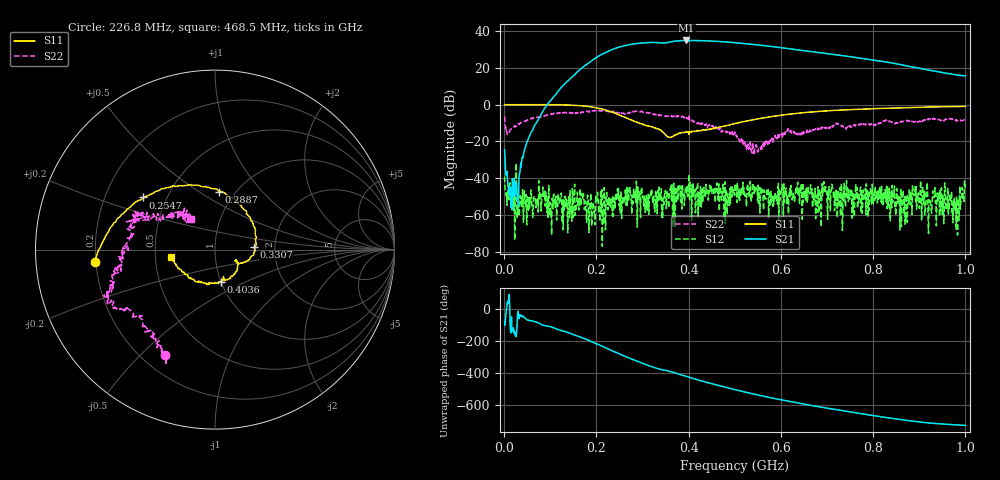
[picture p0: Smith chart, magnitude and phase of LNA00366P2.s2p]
! Created with skrf 1.9.0 (http://scikit-rf.org).
# Hz S RI R 50.0
!freq ReS11 ImS11 ReS21 ImS21 ReS12 ImS12 ReS22 ImS22
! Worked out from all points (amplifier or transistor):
!   1001 points, 1 MHz to 1 GHz, reference 50 ohm
!   highest |S21| = 34.9 dB at 394.6 MHz (marker M1)
!   |S21| within 3 dB of that: 258.9 MHz to 570.6 MHz (311.6 MHz wide, 75.1 % of centre)
!   unconditionally stable (mu >= 1): 211.8 MHz to 286.5 MHz; 287 MHz to 400.3 MHz; 400.8 MHz to end of sweep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
!   at 166.8 MHz: K = 1.75, MAG = 32.3 dB, |S12| = -55.0 dB
!   at 500.5 MHz: K = 1.55, MAG = 34.4 dB, |S12| = -43.8 dB
!   at 1 GHz: K = 2.70, MAG = 23.4 dB, |S12| = -45.5 dB
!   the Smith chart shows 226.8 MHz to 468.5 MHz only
!   S11 on the Smith chart (normalised r, x): 226.8 MHz: 0.20, -0.05; 254.7 MHz: 0.37, +0.28; 288.7 MHz: 0.85, +0.61; 330.7 MHz: 1.56, +0.04; 403.6 MHz: 1.00, -0.37; 468.5 MHz: 0.60, -0.06
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1000000  0.985 0.00776  0.008 -0.059  -0.0108 -0.00237  0.3727 0.3027
1.08892e8  0.5127 -0.8533  -0.8246 -1.512  0.00228 0.00142  0.4249 -0.3752
1.67833e8  -0.2514 -0.8951  -9.809 -0.4694  0.00227 -0.00307  0.0397 -0.6336
2.03797e8  -0.6547 -0.4683  -15.69 13.31  -0.00159 0.00242  -0.1662 -0.6558
2.26774e8  -0.6694 -0.071  -9.767 27.07  -0.000955 -0.00273  -0.2777 -0.5889
2.54746e8  -0.3999 0.2908  10.27 36.94  -0.000614 -0.000509  -0.3642 -0.4545
2.88712e8  0.0233 0.3235  38.11 26.57  0.000219 -0.000413  -0.6 -0.2364
3.09691e8  0.1806 0.1957  47.69 10.05  -0.00146 -0.00106  -0.5772 -0.1973
3.3067e8  0.2178 0.0131  48.23 -7.522  0.000935 -0.00307  -0.5449 -0.1016
3.34666e8  0.217 -0.0163  47.52 -10.21  -0.00242 0.000695  -0.5373 -0.0392
3.68632e8  0.1243 -0.0691  43.42 -30.78  0.000569 8.6e-05  -0.4485 0.1609
3.94606e8  0.0788 -0.1633  28.31 -48.11  -0.000284 0.00419  -0.4254 0.1949
4.03597e8  0.0316 -0.1787  21.3 -51.44  0.0046 0.00194  -0.3237 0.1647
4.33567e8  -0.113 -0.1731  -1.76 -54.4  0.00101 0.00323  -0.1984 0.2057
4.68532e8  -0.2451 -0.0432  -25.32 -45.61  0.00286 0.00438  -0.1349 0.1692
5.005e8  -0.276 0.1238  -38.53 -29.99  -0.006 0.00246  -0.1068 0.1464
5.4046e8  -0.1989 0.3346  -42.47 -8.557  0.00183 -0.00359  -0.0384 0.0285
5.88412e8  0.011 0.4925  -35.15 11.8  0.00169 -0.0031  -0.1082 -0.0744
6.67333e8  0.3945 0.4962  -13.37 23.93  -0.000419 -0.00509  -0.2023 -0.0491
7.53247e8  0.6751 0.2867  4.078 19.46  -0.000864 0.00498  -0.2552 0.0054
8.34166e8  0.7993 0.0187  10.38 9.476  -0.0028 0.00072  -0.3567 -0.00592
1e9  0.729 -0.5218  6.023 -0.4905  -0.00495 -0.00197  -0.2448 0.2912
